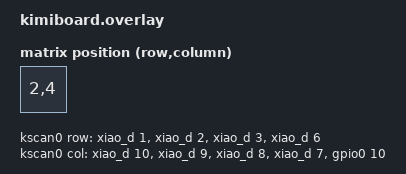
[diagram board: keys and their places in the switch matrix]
#include <dt-bindings/zmk/matrix_transform.h>
#include <physical_layouts.dtsi>

/ {
    chosen {
        zmk,physical-layout = &physical_layout0;
    };

    physical_layout0: physical_layout_0 {
        compatible = "zmk,physical-layout";
        display-name = "Default Layout";
        kscan = <&kscan0>;
        transform = <&default_transform>;
	keys  //                      w   h x y rot rx ry
            = <&key_physical_attrs 100 100   0   0   0  0  0>
            , <&key_physical_attrs 100 100   0   0   0  0  0>
            , <&key_physical_attrs 100 100   0   0   0  0  0>
            , <&key_physical_attrs 100 100   0   0   0  0  0>
            , <&key_physical_attrs 100 100   0   0   0  0  0>
            , <&key_physical_attrs 100 100   0   0   0  0  0>
            , <&key_physical_attrs 100 100   0   0   0  0  0> 
            ;
    };

    default_transform: keymap_transform0 {
        compatible = "zmk,matrix-transform";
        rows = <4>;
        columns = <5>;
        map = <
        RC(0,0) RC(1,1) RC(2,2) RC(3,3)    // SW1〜SW4
        RC(0,4) RC(1,4) RC(2,4)            // SW5〜SW7 
        >;
    };

    kscan0: kscan0 {
        compatible = "zmk,kscan-gpio-matrix";
        diode-direction = "col2row";
        col-gpios
            = <&xiao_d 10 GPIO_ACTIVE_HIGH>
            , <&xiao_d 9 GPIO_ACTIVE_HIGH>
            , <&xiao_d 8 GPIO_ACTIVE_HIGH>
            , <&xiao_d 7 GPIO_ACTIVE_HIGH>
            , <&gpio0 10 GPIO_ACTIVE_HIGH>
        ;
        row-gpios
                = <&xiao_d 1 (GPIO_ACTIVE_HIGH | GPIO_PULL_DOWN)>
                , <&xiao_d 2 (GPIO_ACTIVE_HIGH | GPIO_PULL_DOWN)>
                , <&xiao_d 3 (GPIO_ACTIVE_HIGH | GPIO_PULL_DOWN)>
                , <&xiao_d 6 (GPIO_ACTIVE_HIGH | GPIO_PULL_DOWN)>
                ;
    };
};

&pinctrl {
    spi0_default: spi0_default {
        group1 {
            psels = <NRF_PSEL(SPIM_SCK, 0, 5)>,
                <NRF_PSEL(SPIM_MOSI, 0, 4)>,
                <NRF_PSEL(SPIM_MISO, 0, 4)>;
        };
    };

    spi0_sleep: spi0_sleep {
        group1 {
            psels = <NRF_PSEL(SPIM_SCK, 0, 5)>,
                <NRF_PSEL(SPIM_MOSI, 0, 4)>,
                <NRF_PSEL(SPIM_MISO, 0, 4)>;
            low-power-enable;
        };
    };
};

&spi0 {
    status = "okay";
    compatible = "nordic,nrf-spim";
    pinctrl-0 = <&spi0_default>;
    pinctrl-1 = <&spi0_sleep>;
    pinctrl-names = "default", "sleep";
    cs-gpios = <&gpio0 9 GPIO_ACTIVE_LOW>;

    trackball: trackball@0 {
        status = "okay";
        compatible = "pixart,pmw3610";
        reg = <0>;
        spi-max-frequency = <2000000>;
        irq-gpios = <&gpio0 2 (GPIO_ACTIVE_LOW | GPIO_PULL_UP)>;

        /*   optional features   */
        // snipe-layers = <1>;
        // scroll-layers = <2 3>;
        // automouse-layer = <4>;
    };
};

/ {
  trackball_listener {
    compatible = "zmk,input-listener";
    device = <&trackball>;

  };
};
